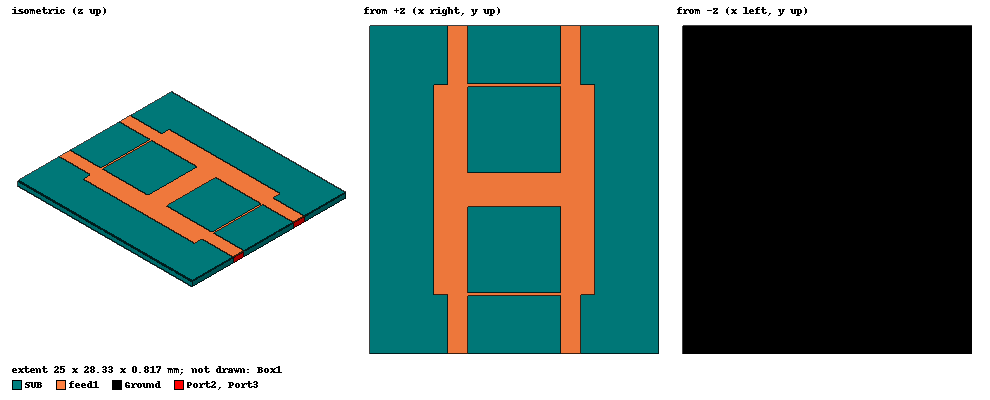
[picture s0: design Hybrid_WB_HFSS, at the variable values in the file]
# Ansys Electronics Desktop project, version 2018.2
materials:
  copper: permeability=0.999991 conductivity=58000000
  FR4_epoxy: permittivity=4.4 dielectric_loss_tangent=0.02
  Rogers RO4003 (tm): permittivity=3.55 dielectric_loss_tangent=0.0027
  vacuum: permittivity=1

design Hybrid_WB_HFSS (HFSS, DrivenModal, model units mm)
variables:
  W = 25mm
  L = 2*L_feed+2*L_35+W_120
  H = 0.8mm
  L_feed = 5mm
  W_50 = 1.7645mm
  W_35 = 2.9727mm  # optimise 2.97mm..2.99mm
  L_35 = 9.0371mm  # optimise 6mm..12mm
  L_50 = 9.8mm
  W_120 = 0.2532mm  # optimise 0.24mm..0.26mm
  L_120 = 8.0138mm  # optimise 6mm..12mm
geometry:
  SUB [Rogers RO4003 (tm)] = box(corner=(0mm, 0mm, 0mm), size=(W, L, H))
  Ground [Rogers RO4003 (tm)] = object_from(SUB.face(-z))
  feed1 [copper] = rectangle(corner=(W/2-L_120/2, 0mm, H), x_size=-W_50, y_size=L_feed+W_120/2)
  feed4 = rectangle(corner=(W/2+L_120/2, 0mm, H), x_size=W_50, y_size=L_feed+W_120/2)
  parallel1 = rectangle(corner=(W/2-L_120/2, L_feed, H), x_size=L_120, y_size=W_120)
  series1_1 = rectangle(corner=(W/2-L_120/2, L_feed+W_120/2, H), x_size=-W_35, y_size=L_35)
  series1_2 = rectangle(corner=(W/2+L_120/2, L_feed+W_120/2, H), x_size=W_35, y_size=L_35)
  parallel2 = rectangle(corner=(W/2-L_120/2, L_feed+L_35+W_120/2-W_35/2, H), x_size=L_120, y_size=W_35)
  feed2 = rectangle(corner=(W/2-L_120/2, L, H), x_size=-W_50, y_size=-L_feed-W_120/2)
  feed3 = rectangle(corner=(W/2+L_120/2, L, H), x_size=W_50, y_size=-L_feed-W_120/2)
  Port1 = rectangle(corner=(W/2-L_120/2, 0mm, H), z_size=-H, x_size=-W_50)
  Port4 = rectangle(corner=(W/2+L_120/2, 0mm, H), z_size=-H, x_size=W_50)
  Port3 = rectangle(corner=(W/2+L_120/2, L, H), z_size=-H, x_size=W_50)
  Port2 = rectangle(corner=(W/2-L_120/2, L, H), z_size=-H, x_size=-W_50)
  Box1 [vacuum] = box(corner=(-10mm, -10mm, -10mm), size=(20mm+W, 20mm+L, 20mm))
  series2_1 = rectangle(corner=(W/2-L_120/2, L_feed+W_120/2+L_35, H), x_size=-W_35, y_size=L_35)
  series2_2 = rectangle(corner=(W/2+L_120/2, L_feed+W_120/2+L_35, H), x_size=W_35, y_size=L_35)
  parallel3 = rectangle(corner=(W/2-L_120/2, L_feed+2*L_35, H), x_size=L_120, y_size=W_120)
  feed1.unite(feed2, feed3, feed4, parallel1, parallel2, parallel3, series1_1, series1_2, series2_1, series2_2)
  feed1.thicken(0.017mm)
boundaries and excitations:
  PerfE1: Perfect E Objects=Ground
  Rad1: Radiation Objects=Box1
  1: Lumped Port Objects=Port1 Modes{Mode1{IntLine{middle of Port1.edge(z opposite corner) -> middle of Port1.edge(z at corner)} CharImp=Zpi RenormImp=50ohm}} Impedance=50ohm
  4: Lumped Port Objects=Port4 Modes{Mode1{IntLine{middle of Port4.edge(z opposite corner) -> middle of Port4.edge(z at corner)} CharImp=Zpi RenormImp=50ohm}} Impedance=50ohm
  2: Lumped Port Objects=Port2 Modes{Mode1{IntLine{middle of Port2.edge(z opposite corner) -> middle of Port2.edge(z at corner)} CharImp=Zpi RenormImp=50ohm}} Impedance=50ohm
  3: Lumped Port Objects=Port3 Modes{Mode1{IntLine{middle of Port3.edge(z opposite corner) -> middle of Port3.edge(z at corner)} CharImp=Zpi RenormImp=50ohm}} Impedance=50ohm
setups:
  Setup1: HfssDriven Frequency=5GHz MaxDeltaS=0.02 MaximumPasses=12 MinimumPasses=1 MinimumConvergedPasses=1 PercentRefinement=30 BasisOrder=1 PortAccuracy=2
    sweep Sweep: 3GHz to 7GHz step 0.01GHz; Type=Fast SaveFields
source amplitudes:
  1:1: 1W 0deg
  4:1, 2:1, 3:1: 0W 0deg
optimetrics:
  OptimizationSetup1: Optimization disabled Optimizer="Genetic Algorithm" AnalysisStopOptions{StopForNumIteration MaxNumIteration=10000 MinNumIteration=10} CostFuncNormType=L2 GAOptions{NumParents=30 ProportionOfParentSelProb=10 MatingPoolSize=30 NumChildren=30 NumParetoSurvivors=10 PopulationSize=30 RouletteSurvivorSelection ProportionOfSurvivorSelProb=10 CrossoverScheme=3 CrossoverProbability=1 VariableCrossoverProbability=1 VariableExchangeProbability=0 MuCross=1 GammaCross=0.5 NumMatingParents=2 MutationDistribution=2 UniformMutationProbability=0 MutationProbability=1 VariableMutationProbability=1 SigmaMut=0.05 SimplexMirrorProbability=0.1 MuMut=10} Acceptable_Cost=0 Noise=0.0001 UpdateDesignWhenDone
    goal dB(S(1,1)) <= -35 weight 1 on Setup1 : Sweep at Freq 5GHz
    goal dB(S(2,1)) >= -3.5 weight 1 on Setup1 : Sweep at Freq 4.75GHz to 5.25GHz
    goal dB(S(3,1)) >= -3.5 weight 1 on Setup1 : Sweep at Freq 4.75GHz to 5.25GHz
    goal dB(S(4,1)) <= -35 weight 1 on Setup1 : Sweep at Freq 5GHz
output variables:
  PortGaindiff = abs(dB(S(2,1))-dB(S(3,1)))
  Phase_diff = abs((mod(abs(cang_rad(S(2,1))-cang_rad(S(3,1))),pi)-(pi/2))*180/pi)
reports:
  S-Parameters: dB(S(1,1)), dB(S(2,1)), dB(S(3,1)), dB(S(4,1)) vs Freq on Setup1 : Sweep; markers MX1 at x=4.9984928e+09, MY1 at y=-14
  Port Gain Difference: PortGaindiff vs Freq on Setup1 : Sweep; markers MY1 at y=0.502681
  Phaase Error: Phase_diff vs Freq on Setup1 : Sweep [W_50=all W_35=all L_35=all W_120=all L_120=all]; markers MY1 at y=2

design Hybrid_WB (Circuit)
options: SParamCircuitDef IntegrationMethod=FFT
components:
  A2 = MS_TRL(W=1.76772mm P=5mm)
  A1 = MS_TRL(W=1.76772mm P=5mm)
  A6 = MS_TEEC(W2=2.98223mm W1=1.76772mm W3=0.24287mm)
  A3 = MS_TEEC(W1=2.98223mm W2=1.76772mm W3=0.24287mm)
  A10 = MS_TRL(W=0.24287mm P=9.55345mm)
  A11 = MS_TRL(W=2.98223mm P=8.73787mm)
  A4 = MS_TRL(W=2.98223mm P=8.73787mm)
  A5 = MS_TEEC(W1=2.98223mm W2=2.98223mm W3=2.98223mm)
  A7 = MS_TEEC(W1=2.98223mm W2=2.98223mm W3=2.98223mm)
  A8 = MS_TRL(W=2.98223mm P=9.55345mm)
  A9 = MS_TRL(W=2.98223mm P=8.73787mm)
  A12 = MS_TRL(W=2.98223mm P=8.73787mm)
  A13 = MS_TEEC(W2=2.98223mm W1=1.76772mm W3=0.24287mm)
  A14 = MS_TEEC(W1=2.98223mm W2=1.76772mm W3=0.24287mm)
  A15 = MS_TRL(W=0.24287mm P=9.55345mm)
  A16 = MS_TRL(W=1.76772mm P=5mm)
  A17 = MS_TRL(W=1.76772mm P=5mm)
  port Port1 pnum=1 rz=50ohm iz=0ohm noisetemp=16.85 noisetemporig=16.85cel
  port Port2 pnum=2 rz=50ohm iz=0ohm noisetemp=16.85 noisetemporig=16.85cel
  port Port3 pnum=3 rz=50ohm iz=0ohm noisetemp=16.85 noisetemporig=16.85cel
  port Port4 pnum=4 rz=50ohm iz=0ohm noisetemp=16.85 noisetemporig=16.85cel
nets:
  net_1: A6.0, A2.1
  net_10: A8.1, A5.2
  net_11: A9.0, A5.1
  net_12: A7.0, A12.0
  net_13: A13.1, A12.1
  net_14: A14.0, A9.1
  net_15: A13.2, A15.0
  net_16: A14.2, A15.1
  net_17: A14.1, A16.0
  net_18: A17.0, A13.0
  net_2: A3.1, A1.1
  net_3: A10.1, A6.2
  net_4: A3.2, A10.0
  net_5: A6.1, A11.0
  net_6: A3.0, A4.0
  net_7: A5.0, A11.1
  net_8: A7.1, A4.1
  net_9: A7.2, A8.0
  Port1: A2.0
  Port2: A16.1
  Port3: A17.1
  Port4: A1.0
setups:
  LinearFrequency: LinearFrequencyData(false, 0.1, false, "", false) SweepDefinition{Variable=F Data="LIN 3GHz 7GHz 0.005GHz"}
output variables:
  phase_diff = abs((mod(abs(cang_rad(S(2,1))-cang_rad(S(3,1))),pi)-(pi/2))*180/pi)
  PortGainDiff = abs(dB(S(Port2,Port1))-dB(S(Port3,Port1)))
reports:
  S-Parameters: dB(S(Port1,Port1)), dB(S(Port2,Port1)), dB(S(Port3,Port1)), dB(S(Port4,Port1)) vs F on LinearFrequency : LinearFrequency; markers MX1 at x=5.0045215e+09, MY1 at y=-14
  Port Gain Difference: PortGainDiff vs F on LinearFrequency : LinearFrequency; markers m1 at 5GHz
  Phase Error: phase_diff vs F on LinearFrequency : LinearFrequency; markers m1 at 5GHz, MY1 at y=2
